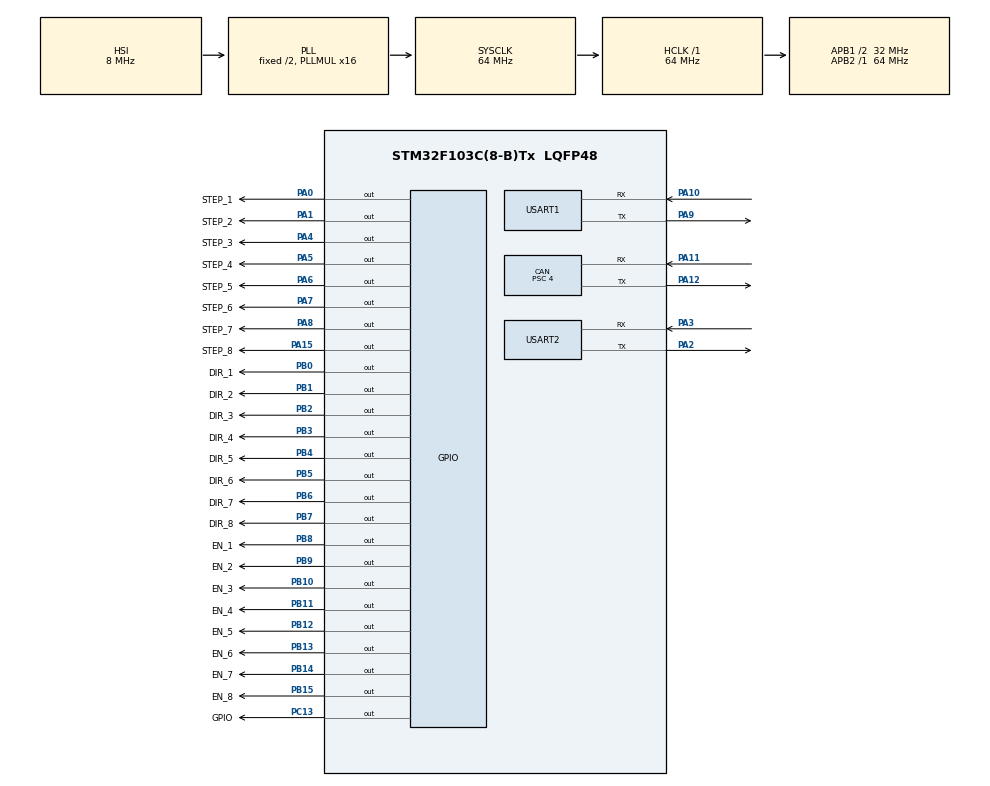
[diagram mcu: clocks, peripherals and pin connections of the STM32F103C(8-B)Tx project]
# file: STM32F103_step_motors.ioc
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CAN.BS1=CAN_BS1_11TQ
CAN.BS2=CAN_BS2_4TQ
CAN.CalculateBaudRate=500000
CAN.CalculateTimeBit=2000
CAN.CalculateTimeQuantum=125.0
CAN.Prescaler=4
FREERTOS.Tasks01=task_can_handle,40,128,start_task_can_handler,Default,NULL,Dynamic,NULL,NULL;task_command_pa,24,256,start_task_command_parser,Default,NULL,Dynamic,NULL,NULL;task_motion_con,48,256,start_task_motion_controller,Default,NULL,Dynamic,NULL,NULL;task_tmc2209_ma,16,256,start_task_tmc2209_manager,Default,NULL,Dynamic,NULL,NULL
FREERTOS.configTOTAL_HEAP_SIZE=4096
FREERTOS.configUSE_NEWLIB_REENTRANT=1
Mcu.Family=STM32F1
Mcu.Name=STM32F103C(8-B)Tx
Mcu.Package=LQFP48
NVIC.CAN1_RX1_IRQn=true\:5\:0\:false\:false\:true\:true\:true\:true\:true
NVIC.PriorityGroup=NVIC_PRIORITYGROUP_4
NVIC.TIM2_IRQn=true\:5\:0\:false\:false\:true\:true\:true\:true\:true
NVIC.TIM4_IRQn=true\:15\:0\:false\:false\:true\:false\:false\:true\:true
NVIC.TimeBase=TIM4_IRQn
NVIC.TimeBaseIP=TIM4
PA0-WKUP.GPIO_Label=STEP_1
PA0-WKUP.Signal=GPIO_Output
PA1.GPIO_Label=STEP_2
PA1.Signal=GPIO_Output
PA10.Mode=Asynchronous
PA10.Signal=USART1_RX
PA11.Mode=CAN_Activate
PA11.Signal=CAN_RX
PA12.Mode=CAN_Activate
PA12.Signal=CAN_TX
PA13.Mode=Serial_Wire
PA13.Signal=SYS_JTMS-SWDIO
PA14.Mode=Serial_Wire
PA14.Signal=SYS_JTCK-SWCLK
PA15.GPIO_Label=STEP_8
PA15.Signal=GPIO_Output
PA2.Mode=Asynchronous
PA2.Signal=USART2_TX
PA3.Mode=Asynchronous
PA3.Signal=USART2_RX
PA4.GPIO_Label=STEP_3
PA4.Signal=GPIO_Output
PA5.GPIO_Label=STEP_4
PA5.Signal=GPIO_Output
PA6.GPIO_Label=STEP_5
PA6.Signal=GPIO_Output
PA7.GPIO_Label=STEP_6
PA7.Signal=GPIO_Output
PA8.GPIO_Label=STEP_7
PA8.Signal=GPIO_Output
PA9.Mode=Asynchronous
PA9.Signal=USART1_TX
PB0.GPIO_Label=DIR_1
PB0.Signal=GPIO_Output
PB1.GPIO_Label=DIR_2
PB1.Signal=GPIO_Output
PB10.GPIO_Label=EN_3
PB10.Signal=GPIO_Output
PB11.GPIO_Label=EN_4
PB11.Signal=GPIO_Output
PB12.GPIO_Label=EN_5
PB12.Signal=GPIO_Output
PB13.GPIO_Label=EN_6
PB13.Signal=GPIO_Output
PB14.GPIO_Label=EN_7
PB14.Signal=GPIO_Output
PB15.GPIO_Label=EN_8
PB15.Signal=GPIO_Output
PB2.GPIO_Label=DIR_3
PB2.Signal=GPIO_Output
PB3.GPIO_Label=DIR_4
PB3.Signal=GPIO_Output
PB4.GPIO_Label=DIR_5
PB4.Signal=GPIO_Output
PB5.GPIO_Label=DIR_6
PB5.Signal=GPIO_Output
PB6.GPIO_Label=DIR_7
PB6.Signal=GPIO_Output
PB7.GPIO_Label=DIR_8
PB7.Signal=GPIO_Output
PB8.GPIO_Label=EN_1
PB8.Signal=GPIO_Output
PB9.GPIO_Label=EN_2
PB9.Signal=GPIO_Output
PC13-TAMPER-RTC.GPIO_Label=GPIO
PC13-TAMPER-RTC.Signal=GPIO_Output
ProjectManager.HeapSize=0x200
ProjectManager.StackSize=0x400
ProjectManager.TargetToolchain=STM32CubeIDE
RCC.AHBFreq_Value=64000000
RCC.APB1CLKDivider=RCC_HCLK_DIV2
RCC.APB1Freq_Value=32000000
RCC.APB1TimFreq_Value=64000000
RCC.APB2Freq_Value=64000000
RCC.APB2TimFreq_Value=64000000
RCC.HCLKFreq_Value=64000000
RCC.PLLMUL=RCC_PLL_MUL16
RCC.SYSCLKFreq_VALUE=64000000
RCC.SYSCLKSource=RCC_SYSCLKSOURCE_PLLCLK
RCC.USBFreq_Value=64000000
TIM2.Channel-Output\ Compare1\ No\ Output=TIM_CHANNEL_1
USART1.VirtualMode=VM_ASYNC
USART2.VirtualMode=VM_ASYNC
VP_FREERTOS_VS_CMSIS_V2.Mode=CMSIS_V2
VP_RTC_No_RTC_Output.Mode=RTC_OUT_NO
VP_RTC_VS_RTC_Activate.Mode=RTC_Enabled
VP_SYS_VS_tim4.Mode=TIM4
VP_TIM1_VS_ClockSourceINT.Mode=Internal
VP_TIM2_VS_ClockSourceINT.Mode=Internal
VP_TIM2_VS_no_output1.Mode=Output Compare1 No Output
board=custom

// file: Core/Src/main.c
/* USER CODE BEGIN Header */
/**
  ******************************************************************************
  * @file           : main.c
  * @brief          : Main program body
  ******************************************************************************
  * @attention
  *
  * Copyright (c) 2025 STMicroelectronics.
  * All rights reserved.
  *
  * This software is licensed under terms that can be found in the LICENSE file
  * in the root directory of this software component.
  * If no LICENSE file comes with this software, it is provided AS-IS.
  *
  ******************************************************************************
  */
/* USER CODE END Header */
#include "main.h"
#include "cmsis_os.h"

/* USER CODE BEGIN Includes */

#include "task_can_handler.h"
#include "task_command_parser.h"
#include "task_motion_controller.h"
#include "task_tmc2209_manager.h"
#include "app_config.h"
#include "command_protocol.h"
#include "tmc2209_driver.h" // Для типа TMC2209_Handle_t
#include "app_globals.h"

/* USER CODE END Includes */

CAN_HandleTypeDef hcan;

RTC_HandleTypeDef hrtc;

TIM_HandleTypeDef htim1;
TIM_HandleTypeDef htim2;

UART_HandleTypeDef huart1;
UART_HandleTypeDef huart2;

/* Definitions for task_can_handle */
osThreadId_t task_can_handleHandle;
const osThreadAttr_t task_can_handle_attributes = {
  .name = "task_can_handle",
  .stack_size = 128 * 4,
  .priority = (osPriority_t) osPriorityHigh,
};
/* Definitions for task_command_pa */
osThreadId_t task_command_paHandle;
const osThreadAttr_t task_command_pa_attributes = {
  .name = "task_command_pa",
  .stack_size = 256 * 4,
  .priority = (osPriority_t) osPriorityNormal,
};
/* Definitions for task_motion_con */
osThreadId_t task_motion_conHandle;
const osThreadAttr_t task_motion_con_attributes = {
  .name = "task_motion_con",
  .stack_size = 256 * 4,
  .priority = (osPriority_t) osPriorityRealtime,
};
/* Definitions for task_tmc2209_ma */
osThreadId_t task_tmc2209_maHandle;
const osThreadAttr_t task_tmc2209_ma_attributes = {
  .name = "task_tmc2209_ma",
  .stack_size = 256 * 4,
  .priority = (osPriority_t) osPriorityBelowNormal,
};
/* USER CODE BEGIN PV */

osMessageQueueId_t can_rx_queueHandle;
osMessageQueueId_t can_tx_queueHandle;
osMessageQueueId_t parser_queueHandle;
osMessageQueueId_t motion_queueHandle;
osMessageQueueId_t tmc_manager_queueHandle;

/* USER CODE END PV */

void SystemClock_Config(void);
static void MX_GPIO_Init(void);
static void MX_CAN_Init(void);
static void MX_RTC_Init(void);
static void MX_TIM1_Init(void);
static void MX_TIM2_Init(void);
static void MX_USART1_UART_Init(void);
static void MX_USART2_UART_Init(void);
void start_task_can_handler(void *argument);
void start_task_command_parser(void *argument);
void start_task_motion_controller(void *argument);
void start_task_tmc2209_manager(void *argument);

int main(void)
{

  /* MCU Configuration--------------------------------------------------------*/

  /* Reset of all peripherals, Initializes the Flash interface and the Systick. */
  HAL_Init();

  /* Configure the system clock */
  SystemClock_Config();

  /* Initialize all configured peripherals */
  MX_GPIO_Init();
  MX_CAN_Init();
  MX_RTC_Init();
  MX_TIM1_Init();
  MX_TIM2_Init();
  MX_USART1_UART_Init();
  MX_USART2_UART_Init();
  /* USER CODE BEGIN 2 */
  // Создание очередей FreeRTOS с использованием именованных констант
can_rx_queueHandle = osMessageQueueNew(CAN_RX_QUEUE_LEN, sizeof(CanRxFrame_t), NULL); // CAN-фрейм: на прием
can_tx_queueHandle = osMessageQueueNew(CAN_TX_QUEUE_LEN, sizeof(CanTxFrame_t), NULL); // CAN-фрейм на отправку
parser_queueHandle = osMessageQueueNew(PARSER_QUEUE_LEN, sizeof(CAN_Command_t), NULL); // Структура команды
motion_queueHandle = osMessageQueueNew(MOTION_QUEUE_LEN, sizeof(MotionCommand_t), NULL); // Задание на движение
tmc_manager_queueHandle = osMessageQueueNew(TMC_MANAGER_QUEUE_LEN, sizeof(CAN_Command_t), NULL); // Команда TMC (пока используем CAN_Command_t)

// Проверка успешности создания очередей
if (can_rx_queueHandle == NULL || parser_queueHandle == NULL || motion_queueHandle == NULL || tmc_manager_queueHandle == NULL || can_tx_queueHandle == NULL) {
	Error_Handler();
    }

  /* USER CODE END 2 */

  /* Init scheduler */
  osKernelInitialize();

  /* Create the thread(s) */
  /* creation of task_can_handle */
  task_can_handleHandle = osThreadNew(start_task_can_handler, NULL, &task_can_handle_attributes);

  /* creation of task_command_pa */
  task_command_paHandle = osThreadNew(start_task_command_parser, NULL, &task_command_pa_attributes);

  /* creation of task_motion_con */
  task_motion_conHandle = osThreadNew(start_task_motion_controller, NULL, &task_motion_con_attributes);

  /* creation of task_tmc2209_ma */
  task_tmc2209_maHandle = osThreadNew(start_task_tmc2209_manager, NULL, &task_tmc2209_ma_attributes);

  /* Start scheduler */
  osKernelStart();

  /* We should never get here as control is now taken by the scheduler */

  /* Infinite loop */
  while (1)
  {

  }
}

void SystemClock_Config(void)
{
  RCC_OscInitTypeDef RCC_OscInitStruct = {0};
  RCC_ClkInitTypeDef RCC_ClkInitStruct = {0};
  RCC_PeriphCLKInitTypeDef PeriphClkInit = {0};

  /** Initializes the RCC Oscillators according to the specified parameters
  * in the RCC_OscInitTypeDef structure.
  */
  RCC_OscInitStruct.OscillatorType = RCC_OSCILLATORTYPE_HSI|RCC_OSCILLATORTYPE_LSI;
  RCC_OscInitStruct.HSIState = RCC_HSI_ON;
  RCC_OscInitStruct.HSICalibrationValue = RCC_HSICALIBRATION_DEFAULT;
  RCC_OscInitStruct.LSIState = RCC_LSI_ON;
  RCC_OscInitStruct.PLL.PLLState = RCC_PLL_ON;
  RCC_OscInitStruct.PLL.PLLSource = RCC_PLLSOURCE_HSI_DIV2;
  RCC_OscInitStruct.PLL.PLLMUL = RCC_PLL_MUL16;
  if (HAL_RCC_OscConfig(&RCC_OscInitStruct) != HAL_OK)
  {
    Error_Handler();
  }

  /** Initializes the CPU, AHB and APB buses clocks
  */
  RCC_ClkInitStruct.ClockType = RCC_CLOCKTYPE_HCLK|RCC_CLOCKTYPE_SYSCLK
                              |RCC_CLOCKTYPE_PCLK1|RCC_CLOCKTYPE_PCLK2;
  RCC_ClkInitStruct.SYSCLKSource = RCC_SYSCLKSOURCE_PLLCLK;
  RCC_ClkInitStruct.AHBCLKDivider = RCC_SYSCLK_DIV1;
  RCC_ClkInitStruct.APB1CLKDivider = RCC_HCLK_DIV2;
  RCC_ClkInitStruct.APB2CLKDivider = RCC_HCLK_DIV1;

  if (HAL_RCC_ClockConfig(&RCC_ClkInitStruct, FLASH_LATENCY_2) != HAL_OK)
  {
    Error_Handler();
  }
  PeriphClkInit.PeriphClockSelection = RCC_PERIPHCLK_RTC;
  PeriphClkInit.RTCClockSelection = RCC_RTCCLKSOURCE_LSI;
  if (HAL_RCCEx_PeriphCLKConfig(&PeriphClkInit) != HAL_OK)
  {
    Error_Handler();
  }
}

static void MX_CAN_Init(void)
{

  hcan.Instance = CAN1;
  hcan.Init.Prescaler = 4;
  hcan.Init.Mode = CAN_MODE_NORMAL;
  hcan.Init.SyncJumpWidth = CAN_SJW_1TQ;
  hcan.Init.TimeSeg1 = CAN_BS1_11TQ;
  hcan.Init.TimeSeg2 = CAN_BS2_4TQ;
  hcan.Init.TimeTriggeredMode = DISABLE;
  hcan.Init.AutoBusOff = DISABLE;
  hcan.Init.AutoWakeUp = DISABLE;
  hcan.Init.AutoRetransmission = DISABLE;
  hcan.Init.ReceiveFifoLocked = DISABLE;
  hcan.Init.TransmitFifoPriority = DISABLE;
  if (HAL_CAN_Init(&hcan) != HAL_OK)
  {
    Error_Handler();
  }

}

static void MX_RTC_Init(void)
{

  RTC_TimeTypeDef sTime = {0};
  RTC_DateTypeDef DateToUpdate = {0};

  /** Initialize RTC Only
  */
  hrtc.Instance = RTC;
  hrtc.Init.AsynchPrediv = RTC_AUTO_1_SECOND;
  hrtc.Init.OutPut = RTC_OUTPUTSOURCE_NONE;
  if (HAL_RTC_Init(&hrtc) != HAL_OK)
  {
    Error_Handler();
  }

  /** Initialize RTC and set the Time and Date
  */
  sTime.Hours = 0x0;
  sTime.Minutes = 0x0;
  sTime.Seconds = 0x0;

  if (HAL_RTC_SetTime(&hrtc, &sTime, RTC_FORMAT_BCD) != HAL_OK)
  {
    Error_Handler();
  }
  DateToUpdate.WeekDay = RTC_WEEKDAY_MONDAY;
  DateToUpdate.Month = RTC_MONTH_JANUARY;
  DateToUpdate.Date = 0x1;
  DateToUpdate.Year = 0x0;

  if (HAL_RTC_SetDate(&hrtc, &DateToUpdate, RTC_FORMAT_BCD) != HAL_OK)
  {
    Error_Handler();
  }

}

static void MX_TIM1_Init(void)
{

  TIM_ClockConfigTypeDef sClockSourceConfig = {0};
  TIM_MasterConfigTypeDef sMasterConfig = {0};

  htim1.Instance = TIM1;
  htim1.Init.Prescaler = 0;
  htim1.Init.CounterMode = TIM_COUNTERMODE_UP;
  htim1.Init.Period = 65535;
  htim1.Init.ClockDivision = TIM_CLOCKDIVISION_DIV1;
  htim1.Init.RepetitionCounter = 0;
  htim1.Init.AutoReloadPreload = TIM_AUTORELOAD_PRELOAD_DISABLE;
  if (HAL_TIM_Base_Init(&htim1) != HAL_OK)
  {
    Error_Handler();
  }
  sClockSourceConfig.ClockSource = TIM_CLOCKSOURCE_INTERNAL;
  if (HAL_TIM_ConfigClockSource(&htim1, &sClockSourceConfig) != HAL_OK)
  {
    Error_Handler();
  }
  sMasterConfig.MasterOutputTrigger = TIM_TRGO_RESET;
  sMasterConfig.MasterSlaveMode = TIM_MASTERSLAVEMODE_DISABLE;
  if (HAL_TIMEx_MasterConfigSynchronization(&htim1, &sMasterConfig) != HAL_OK)
  {
    Error_Handler();
  }

}

static void MX_TIM2_Init(void)
{

  TIM_ClockConfigTypeDef sClockSourceConfig = {0};
  TIM_MasterConfigTypeDef sMasterConfig = {0};
  TIM_OC_InitTypeDef sConfigOC = {0};

  htim2.Instance = TIM2;
  htim2.Init.Prescaler = 0;
  htim2.Init.CounterMode = TIM_COUNTERMODE_UP;
  htim2.Init.Period = 65535;
  htim2.Init.ClockDivision = TIM_CLOCKDIVISION_DIV1;
  htim2.Init.AutoReloadPreload = TIM_AUTORELOAD_PRELOAD_DISABLE;
  if (HAL_TIM_Base_Init(&htim2) != HAL_OK)
  {
    Error_Handler();
  }
  sClockSourceConfig.ClockSource = TIM_CLOCKSOURCE_INTERNAL;
  if (HAL_TIM_ConfigClockSource(&htim2, &sClockSourceConfig) != HAL_OK)
  {
    Error_Handler();
  }
  if (HAL_TIM_OC_Init(&htim2) != HAL_OK)
  {
    Error_Handler();
  }
  sMasterConfig.MasterOutputTrigger = TIM_TRGO_RESET;
  sMasterConfig.MasterSlaveMode = TIM_MASTERSLAVEMODE_DISABLE;
  if (HAL_TIMEx_MasterConfigSynchronization(&htim2, &sMasterConfig) != HAL_OK)
  {
    Error_Handler();
  }
  sConfigOC.OCMode = TIM_OCMODE_TIMING;
  sConfigOC.Pulse = 0;
  sConfigOC.OCPolarity = TIM_OCPOLARITY_HIGH;
  sConfigOC.OCFastMode = TIM_OCFAST_DISABLE;
  if (HAL_TIM_OC_ConfigChannel(&htim2, &sConfigOC, TIM_CHANNEL_1) != HAL_OK)
  {
    Error_Handler();
  }

}

static void MX_USART1_UART_Init(void)
{

  huart1.Instance = USART1;
  huart1.Init.BaudRate = 115200;
  huart1.Init.WordLength = UART_WORDLENGTH_8B;
  huart1.Init.StopBits = UART_STOPBITS_1;
  huart1.Init.Parity = UART_PARITY_NONE;
  huart1.Init.Mode = UART_MODE_TX_RX;
  huart1.Init.HwFlowCtl = UART_HWCONTROL_NONE;
  huart1.Init.OverSampling = UART_OVERSAMPLING_16;
  if (HAL_UART_Init(&huart1) != HAL_OK)
  {
    Error_Handler();
  }

}

static void MX_USART2_UART_Init(void)
{

  huart2.Instance = USART2;
  huart2.Init.BaudRate = 115200;
  huart2.Init.WordLength = UART_WORDLENGTH_8B;
  huart2.Init.StopBits = UART_STOPBITS_1;
  huart2.Init.Parity = UART_PARITY_NONE;
  huart2.Init.Mode = UART_MODE_TX_RX;
  huart2.Init.HwFlowCtl = UART_HWCONTROL_NONE;
  huart2.Init.OverSampling = UART_OVERSAMPLING_16;
  if (HAL_UART_Init(&huart2) != HAL_OK)
  {
    Error_Handler();
  }

}

static void MX_GPIO_Init(void)
{
  GPIO_InitTypeDef GPIO_InitStruct = {0};

  /* GPIO Ports Clock Enable */
  __HAL_RCC_GPIOC_CLK_ENABLE();
  __HAL_RCC_GPIOA_CLK_ENABLE();
  __HAL_RCC_GPIOB_CLK_ENABLE();

  /*Configure GPIO pin Output Level */
  HAL_GPIO_WritePin(GPIO_GPIO_Port, GPIO_Pin, GPIO_PIN_SET);

  /*Configure GPIO pin Output Level */
  HAL_GPIO_WritePin(GPIOA, STEP_1_Pin|STEP_2_Pin|STEP_3_Pin|STEP_4_Pin
                          |STEP_5_Pin|STEP_6_Pin|STEP_7_Pin|STEP_8_Pin, GPIO_PIN_RESET);

  /*Configure GPIO pin Output Level */
  HAL_GPIO_WritePin(GPIOB, DIR_1_Pin|DIR_2_Pin|DIR_3_Pin|EN_3_Pin
                          |EN_4_Pin|EN_5_Pin|EN_6_Pin|EN_7_Pin
                          |EN_8_Pin|DIR_4_Pin|DIR_5_Pin|DIR_6_Pin
                          |DIR_7_Pin|DIR_8_Pin|EN_1_Pin|EN_2_Pin, GPIO_PIN_RESET);

  /*Configure GPIO pin : GPIO_Pin */
  GPIO_InitStruct.Pin = GPIO_Pin;
  GPIO_InitStruct.Mode = GPIO_MODE_OUTPUT_PP;
  GPIO_InitStruct.Pull = GPIO_NOPULL;
  GPIO_InitStruct.Speed = GPIO_SPEED_FREQ_LOW;
  HAL_GPIO_Init(GPIO_GPIO_Port, &GPIO_InitStruct);

  /*Configure GPIO pins : STEP_1_Pin STEP_2_Pin STEP_3_Pin STEP_4_Pin
                           STEP_5_Pin STEP_6_Pin STEP_7_Pin STEP_8_Pin */
  GPIO_InitStruct.Pin = STEP_1_Pin|STEP_2_Pin|STEP_3_Pin|STEP_4_Pin
                          |STEP_5_Pin|STEP_6_Pin|STEP_7_Pin|STEP_8_Pin;
  GPIO_InitStruct.Mode = GPIO_MODE_OUTPUT_PP;
  GPIO_InitStruct.Pull = GPIO_NOPULL;
  GPIO_InitStruct.Speed = GPIO_SPEED_FREQ_LOW;
  HAL_GPIO_Init(GPIOA, &GPIO_InitStruct);

  /*Configure GPIO pins : DIR_1_Pin DIR_2_Pin DIR_3_Pin EN_3_Pin
                           EN_4_Pin EN_5_Pin EN_6_Pin EN_7_Pin
                           EN_8_Pin DIR_4_Pin DIR_5_Pin DIR_6_Pin
                           DIR_7_Pin DIR_8_Pin EN_1_Pin EN_2_Pin */
  GPIO_InitStruct.Pin = DIR_1_Pin|DIR_2_Pin|DIR_3_Pin|EN_3_Pin
                          |EN_4_Pin|EN_5_Pin|EN_6_Pin|EN_7_Pin
                          |EN_8_Pin|DIR_4_Pin|DIR_5_Pin|DIR_6_Pin
                          |DIR_7_Pin|DIR_8_Pin|EN_1_Pin|EN_2_Pin;
  GPIO_InitStruct.Mode = GPIO_MODE_OUTPUT_PP;
  GPIO_InitStruct.Pull = GPIO_NOPULL;
  GPIO_InitStruct.Speed = GPIO_SPEED_FREQ_LOW;
  HAL_GPIO_Init(GPIOB, &GPIO_InitStruct);

}

void start_task_can_handler(void *argument)
{
  /* USER CODE BEGIN 5 */
  app_start_task_can_handler(argument);
  /* Infinite loop */
  for(;;)
  {
    osDelay(1);
  }
  /* USER CODE END 5 */
}

void start_task_command_parser(void *argument)
{
  /* USER CODE BEGIN start_task_command_parser */
  app_start_task_command_parser(argument);
  /* Infinite loop */
  for(;;)
  {
    osDelay(1);
  }
  /* USER CODE END start_task_command_parser */
}

void start_task_motion_controller(void *argument)
{
  /* USER CODE BEGIN start_task_motion_controller */
  app_start_task_motion_controller(argument);
  /* Infinite loop */
  for(;;)
  {
    osDelay(1);
  }
  /* USER CODE END start_task_motion_controller */
}

void start_task_tmc2209_manager(void *argument)
{
  /* USER CODE BEGIN start_task_tmc2209_manager */
  app_start_task_tmc2209_manager(argument);
  /* Infinite loop */
  for(;;)
  {
    osDelay(1);
  }
  /* USER CODE END start_task_tmc2209_manager */
}

void HAL_TIM_PeriodElapsedCallback(TIM_HandleTypeDef *htim)
{
  if (htim->Instance == TIM4)
  {
    HAL_IncTick();
  }
}

void Error_Handler(void)
{
  __disable_irq();
  while (1)
  {
  }
}
